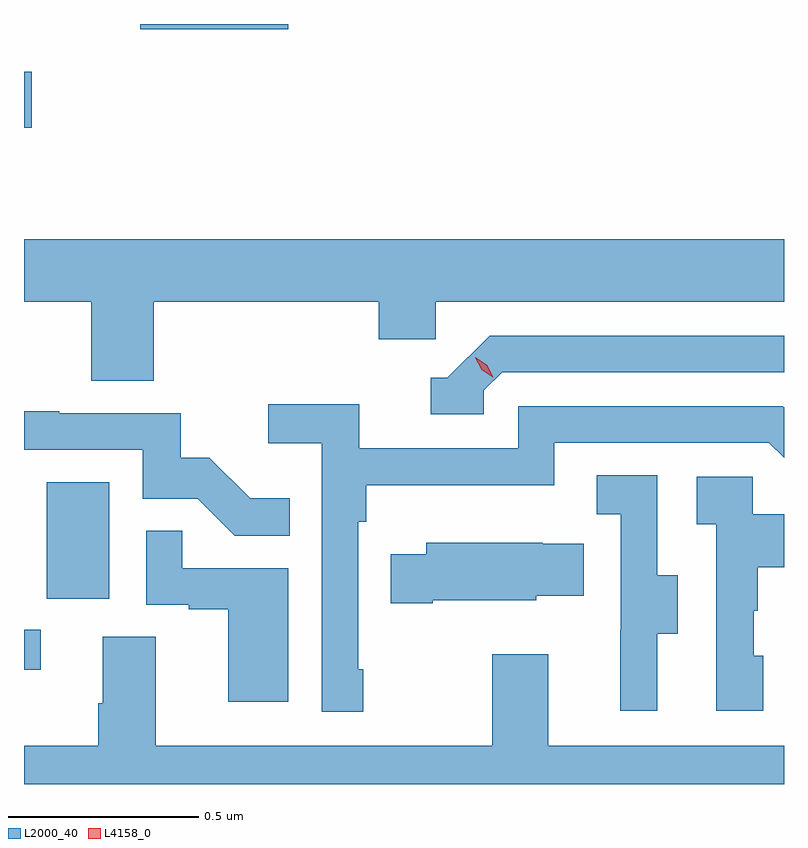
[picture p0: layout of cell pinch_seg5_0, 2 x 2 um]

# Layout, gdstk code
import gdstk
lib = gdstk.Library(unit=1e-6, precision=1e-09)
def R(c, l, rs):  # rectangles x0, y0, x1, y1
    for r in rs: c.add(gdstk.rectangle(r[:2], r[2:], *l))
def P(c, l, *ps):  # polygons
    for p in ps: c.add(gdstk.Polygon(p, *l))
L2000_40 = (2000, 40)
L4158_0 = (4158, 0)

pinch_seg5_0 = lib.new_cell('pinch_seg5_0')
R(pinch_seg5_0, L2000_40, [(1078.346,905.076,1078.39,905.181), (1078.406,905.262,1078.57,905.569), (1078.346,906.502,1078.366,906.649), (1078.652,906.761,1079.041,906.775)])
P(pinch_seg5_0, L2000_40, [(1078.688,906.044),(1079.279,906.044),(1079.279,905.946),(1079.43,905.946),(1079.43,906.044),(1080.346,906.044),(1080.346,906.208),(1078.346,906.208),(1078.346,906.044),(1078.523,906.044),(1078.523,905.836),(1078.688,905.836)],
  [(1079.556,905.811),(1079.604,905.859),(1080.346,905.859),(1080.346,905.955),(1079.571,905.955),(1079.46,905.844),(1079.417,905.844),(1079.417,905.748),(1079.556,905.748)],
  [(1079.239,905.077),(1079.226,905.077),(1079.226,905.465),(1079.246,905.465),(1079.246,905.561),(1079.742,905.561),(1079.742,905.673),(1080.306,905.673),(1080.346,905.633),(1080.346,905.766),(1080.343,905.769),(1079.646,905.769),(1079.646,905.658),(1079.228,905.658),(1079.228,905.774),(1078.989,905.774),(1078.989,905.672),(1079.13,905.672),(1079.13,904.965),(1079.239,904.965)],
  [(1079.045,905.527),(1078.941,905.527),(1078.834,905.634),(1078.758,905.634),(1078.758,905.751),(1078.439,905.751),(1078.439,905.756),(1078.346,905.756),(1078.346,905.655),(1078.659,905.655),(1078.659,905.526),(1078.803,905.526),(1078.901,905.428),(1079.045,905.428)],
  [(1080.013,905.17),(1080.067,905.17),(1080.067,905.325),(1080.012,905.325),(1080.012,905.588),(1079.853,905.588),(1079.853,905.485),(1079.916,905.485),(1079.916,905.181),(1079.915,905.181),(1079.915,904.968),(1080.013,904.968)],
  [(1080.292,905.112),(1080.267,905.112),(1080.267,905.231),(1080.277,905.231),(1080.277,905.345),(1080.346,905.345),(1080.346,905.485),(1080.264,905.485),(1080.264,905.583),(1080.117,905.583),(1080.117,905.459),(1080.168,905.459),(1080.168,904.968),(1080.292,904.968)],
  [(1079.041,905.343),(1078.763,905.343),(1078.763,905.441),(1078.668,905.441),(1078.668,905.247),(1078.779,905.247),(1078.779,905.235),(1078.883,905.235),(1078.883,904.992),(1079.041,904.992)],
  [(1079.422,905.258),(1079.694,905.258),(1079.694,905.27),(1079.819,905.27),(1079.819,905.407),(1079.711,905.407),(1079.711,905.41),(1079.405,905.41),(1079.405,905.38),(1079.311,905.38),(1079.311,905.251),(1079.422,905.251)],
  [(1080.346,904.876),(1079.725,904.876),(1079.725,905.116),(1079.578,905.116),(1079.578,904.876),(1078.693,904.876),(1078.693,905.162),(1078.553,905.162),(1078.553,904.988),(1078.541,904.988),(1078.541,904.876),(1078.346,904.876),(1078.346,904.775),(1080.346,904.775)])
P(pinch_seg5_0, L4158_0, [(1079.58,905.845),(1079.55,905.865),(1079.533,905.897),(1079.533,905.898),(1079.534,905.898),(1079.564,905.878),(1079.581,905.846),(1079.581,905.845)])

lib.write_gds('pinch_seg5_0.gds')
